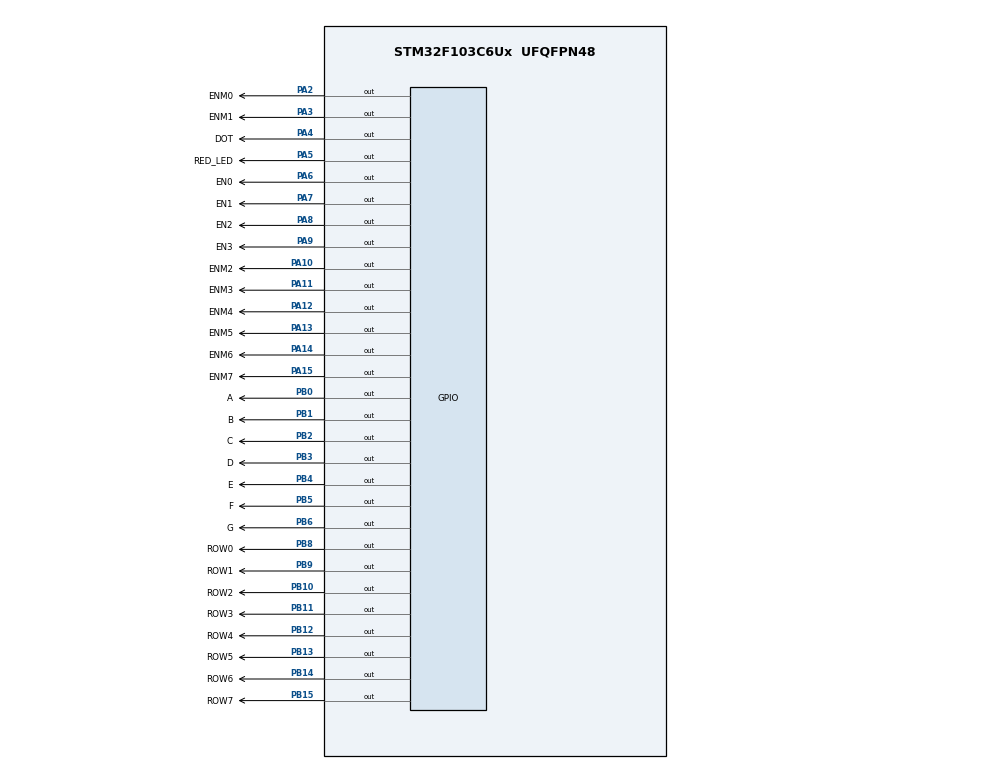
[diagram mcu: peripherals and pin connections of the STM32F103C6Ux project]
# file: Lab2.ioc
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Mcu.Family=STM32F1
Mcu.Name=STM32F103C6Ux
Mcu.Package=UFQFPN48
NVIC.PriorityGroup=NVIC_PRIORITYGROUP_4
NVIC.TIM2_IRQn=true\:0\:0\:false\:false\:true\:true\:true
PA10.GPIO_Label=ENM2
PA10.Signal=GPIO_Output
PA11.GPIO_Label=ENM3
PA11.Signal=GPIO_Output
PA12.GPIO_Label=ENM4
PA12.Signal=GPIO_Output
PA13.GPIO_Label=ENM5
PA13.Signal=GPIO_Output
PA14.GPIO_Label=ENM6
PA14.Signal=GPIO_Output
PA15.GPIO_Label=ENM7
PA15.Signal=GPIO_Output
PA2.GPIO_Label=ENM0
PA2.Signal=GPIO_Output
PA3.GPIO_Label=ENM1
PA3.Signal=GPIO_Output
PA4.GPIO_Label=DOT
PA4.Signal=GPIO_Output
PA5.GPIO_Label=RED_LED
PA5.Signal=GPIO_Output
PA6.GPIO_Label=EN0
PA6.Signal=GPIO_Output
PA7.GPIO_Label=EN1
PA7.Signal=GPIO_Output
PA8.GPIO_Label=EN2
PA8.Signal=GPIO_Output
PA9.GPIO_Label=EN3
PA9.Signal=GPIO_Output
PB0.GPIO_Label=A
PB0.Signal=GPIO_Output
PB1.GPIO_Label=B
PB1.Signal=GPIO_Output
PB10.GPIO_Label=ROW2
PB10.Signal=GPIO_Output
PB11.GPIO_Label=ROW3
PB11.Signal=GPIO_Output
PB12.GPIO_Label=ROW4
PB12.Signal=GPIO_Output
PB13.GPIO_Label=ROW5
PB13.Signal=GPIO_Output
PB14.GPIO_Label=ROW6
PB14.Signal=GPIO_Output
PB15.GPIO_Label=ROW7
PB15.Signal=GPIO_Output
PB2.GPIO_Label=C
PB2.Signal=GPIO_Output
PB3.GPIO_Label=D
PB3.Signal=GPIO_Output
PB4.GPIO_Label=E
PB4.Signal=GPIO_Output
PB5.GPIO_Label=F
PB5.Signal=GPIO_Output
PB6.GPIO_Label=G
PB6.Signal=GPIO_Output
PB8.GPIO_Label=ROW0
PB8.Signal=GPIO_Output
PB9.GPIO_Label=ROW1
PB9.Signal=GPIO_Output
ProjectManager.HeapSize=0x200
ProjectManager.StackSize=0x400
ProjectManager.TargetToolchain=STM32CubeIDE
RCC.APB1Freq_Value=8000000
RCC.APB2Freq_Value=8000000
TIM2.Period=9
TIM2.Prescaler=7999
VP_SYS_VS_ND.Mode=No_Debug
VP_TIM2_VS_ClockSourceINT.Mode=Internal
board=custom

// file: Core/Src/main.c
/* USER CODE BEGIN Header */
/* USER CODE END Header */
#include "main.h"

TIM_HandleTypeDef htim2;

void SystemClock_Config(void);
static void MX_TIM2_Init(void);
static void MX_GPIO_Init(void);

/* USER CODE BEGIN 0 */
void display7SEG(int num) {
	if(num == 0){
		HAL_GPIO_WritePin(GPIOB, A_Pin, GPIO_PIN_RESET); // A
		HAL_GPIO_WritePin(GPIOB, B_Pin, GPIO_PIN_RESET); // B
		HAL_GPIO_WritePin(GPIOB, C_Pin, GPIO_PIN_RESET); // C
		HAL_GPIO_WritePin(GPIOB, D_Pin, GPIO_PIN_RESET); // D
		HAL_GPIO_WritePin(GPIOB, E_Pin, GPIO_PIN_RESET); // E
		HAL_GPIO_WritePin(GPIOB, F_Pin, GPIO_PIN_RESET); // F
		HAL_GPIO_WritePin(GPIOB, G_Pin, GPIO_PIN_SET); // G
	}
	if(num == 1){
		HAL_GPIO_WritePin(GPIOB, A_Pin, GPIO_PIN_SET); // A
		HAL_GPIO_WritePin(GPIOB, B_Pin, GPIO_PIN_RESET); // B
		HAL_GPIO_WritePin(GPIOB, C_Pin, GPIO_PIN_RESET); // C
		HAL_GPIO_WritePin(GPIOB, D_Pin, GPIO_PIN_SET); // D
		HAL_GPIO_WritePin(GPIOB, E_Pin, GPIO_PIN_SET); // E
		HAL_GPIO_WritePin(GPIOB, F_Pin, GPIO_PIN_SET); // F
		HAL_GPIO_WritePin(GPIOB, G_Pin, GPIO_PIN_SET); // G
	}
	if(num == 2){
		HAL_GPIO_WritePin(GPIOB, A_Pin, GPIO_PIN_RESET); // A
		HAL_GPIO_WritePin(GPIOB, B_Pin, GPIO_PIN_RESET); // B
		HAL_GPIO_WritePin(GPIOB, C_Pin, GPIO_PIN_SET); // C
		HAL_GPIO_WritePin(GPIOB, D_Pin, GPIO_PIN_RESET); // D
		HAL_GPIO_WritePin(GPIOB, E_Pin, GPIO_PIN_RESET); // E
		HAL_GPIO_WritePin(GPIOB, F_Pin, GPIO_PIN_SET); // F
		HAL_GPIO_WritePin(GPIOB, G_Pin, GPIO_PIN_RESET); // G
	}
	if(num == 3){
		HAL_GPIO_WritePin(GPIOB, A_Pin, GPIO_PIN_RESET); // A
		HAL_GPIO_WritePin(GPIOB, B_Pin, GPIO_PIN_RESET); // B
		HAL_GPIO_WritePin(GPIOB, C_Pin, GPIO_PIN_RESET); // C
		HAL_GPIO_WritePin(GPIOB, D_Pin, GPIO_PIN_RESET); // D
		HAL_GPIO_WritePin(GPIOB, E_Pin, GPIO_PIN_SET); // E
		HAL_GPIO_WritePin(GPIOB, F_Pin, GPIO_PIN_SET); // F
		HAL_GPIO_WritePin(GPIOB, G_Pin, GPIO_PIN_RESET); // G
	}
	if(num == 4){
		HAL_GPIO_WritePin(GPIOB, A_Pin, GPIO_PIN_SET); // A
		HAL_GPIO_WritePin(GPIOB, B_Pin, GPIO_PIN_RESET); // B
		HAL_GPIO_WritePin(GPIOB, C_Pin, GPIO_PIN_RESET); // C
		HAL_GPIO_WritePin(GPIOB, D_Pin, GPIO_PIN_SET); // D
		HAL_GPIO_WritePin(GPIOB, E_Pin, GPIO_PIN_SET); // E
		HAL_GPIO_WritePin(GPIOB, F_Pin, GPIO_PIN_RESET); // F
		HAL_GPIO_WritePin(GPIOB, G_Pin, GPIO_PIN_RESET); // G
	}
	if(num == 5){
		HAL_GPIO_WritePin(GPIOB, A_Pin, GPIO_PIN_RESET); // A
		HAL_GPIO_WritePin(GPIOB, B_Pin, GPIO_PIN_SET); // B
		HAL_GPIO_WritePin(GPIOB, C_Pin, GPIO_PIN_RESET); // C
		HAL_GPIO_WritePin(GPIOB, D_Pin, GPIO_PIN_RESET); // D
		HAL_GPIO_WritePin(GPIOB, E_Pin, GPIO_PIN_SET); // E
		HAL_GPIO_WritePin(GPIOB, F_Pin, GPIO_PIN_RESET); // F
		HAL_GPIO_WritePin(GPIOB, G_Pin, GPIO_PIN_RESET); // G
	}
	if(num == 6){
		HAL_GPIO_WritePin(GPIOB, A_Pin, GPIO_PIN_RESET); // A
		HAL_GPIO_WritePin(GPIOB, B_Pin, GPIO_PIN_SET); // B
		HAL_GPIO_WritePin(GPIOB, C_Pin, GPIO_PIN_RESET); // C
		HAL_GPIO_WritePin(GPIOB, D_Pin, GPIO_PIN_RESET); // D
		HAL_GPIO_WritePin(GPIOB, E_Pin, GPIO_PIN_RESET); // E
		HAL_GPIO_WritePin(GPIOB, F_Pin, GPIO_PIN_RESET); // F
		HAL_GPIO_WritePin(GPIOB, G_Pin, GPIO_PIN_RESET); // G
	}
	if(num == 7){
		HAL_GPIO_WritePin(GPIOB, A_Pin, GPIO_PIN_RESET); // A
		HAL_GPIO_WritePin(GPIOB, B_Pin, GPIO_PIN_RESET); // B
		HAL_GPIO_WritePin(GPIOB, C_Pin, GPIO_PIN_RESET); // C
		HAL_GPIO_WritePin(GPIOB, D_Pin, GPIO_PIN_SET); // D
		HAL_GPIO_WritePin(GPIOB, E_Pin, GPIO_PIN_SET); // E
		HAL_GPIO_WritePin(GPIOB, F_Pin, GPIO_PIN_SET); // F
		HAL_GPIO_WritePin(GPIOB, G_Pin, GPIO_PIN_SET); // G
	}
	if(num == 8){
		HAL_GPIO_WritePin(GPIOB, A_Pin, GPIO_PIN_RESET); // A
		HAL_GPIO_WritePin(GPIOB, B_Pin, GPIO_PIN_RESET); // B
		HAL_GPIO_WritePin(GPIOB, C_Pin, GPIO_PIN_RESET); // C
		HAL_GPIO_WritePin(GPIOB, D_Pin, GPIO_PIN_RESET); // D
		HAL_GPIO_WritePin(GPIOB, E_Pin, GPIO_PIN_RESET); // E
		HAL_GPIO_WritePin(GPIOB, F_Pin, GPIO_PIN_RESET); // F
		HAL_GPIO_WritePin(GPIOB, G_Pin, GPIO_PIN_RESET); // G
	}
	if(num == 9){
		HAL_GPIO_WritePin(GPIOB, A_Pin, GPIO_PIN_RESET); // A
		HAL_GPIO_WritePin(GPIOB, B_Pin, GPIO_PIN_RESET); // B
		HAL_GPIO_WritePin(GPIOB, C_Pin, GPIO_PIN_RESET); // C
		HAL_GPIO_WritePin(GPIOB, D_Pin, GPIO_PIN_RESET); // D
		HAL_GPIO_WritePin(GPIOB, E_Pin, GPIO_PIN_SET); // E
		HAL_GPIO_WritePin(GPIOB, F_Pin, GPIO_PIN_RESET); // F
		HAL_GPIO_WritePin(GPIOB, G_Pin, GPIO_PIN_RESET); // G
	}
}

const MAX_LED = 4;
int index_led = 0;
int led_buffer[4];
void update7SEG (int index) {
	switch (index) {
	case 0:
		//first 7 SEG
		HAL_GPIO_WritePin (EN0_GPIO_Port, EN0_Pin, 0) ;
		HAL_GPIO_WritePin (GPIOA, EN1_Pin | EN2_Pin | EN3_Pin, 1) ;
		display7SEG(led_buffer[index]);
		break ;
	case 1:
		//second 7 SEG
		HAL_GPIO_WritePin (EN1_GPIO_Port, EN1_Pin , 0) ;
		HAL_GPIO_WritePin (GPIOA, EN0_Pin | EN2_Pin | EN3_Pin, 1) ;
		display7SEG(led_buffer[index]);
		break;
	case 2:
		// third 7 SEG
		HAL_GPIO_WritePin (EN2_GPIO_Port, EN2_Pin, 0) ;
		HAL_GPIO_WritePin (GPIOA, EN0_Pin | EN1_Pin | EN3_Pin, 1) ;
		display7SEG(led_buffer[index]);
		break;
	case 3:
		//forth 7 SEG
		HAL_GPIO_WritePin (EN3_GPIO_Port, EN3_Pin, 0) ;
		HAL_GPIO_WritePin (GPIOA, EN0_Pin | EN1_Pin | EN2_Pin, 1) ;
		display7SEG(led_buffer[index]);
		break ;
	default:
		break ;
	}
}
int hour = 15, minute = 8, second = 50;

void updateClockBuffer(){
	if(hour < 10){
		led_buffer[0] = 0;
		led_buffer[1] = hour;
	}else{
		led_buffer[0] = hour / 10;
		led_buffer[1] = hour % 10;
	}
	if(minute < 10){
		led_buffer[2] = 0;
		led_buffer[3] = minute;
	}else{
		led_buffer[2] = minute / 10;
		led_buffer[3] = minute % 10;
	}
}
int timer0_counter = 0;
int timer0_flag = 0;
int TIMER_CYCLE = 10;
void setTimer0 (int duration) {
	timer0_counter = duration / TIMER_CYCLE ;
	timer0_flag = 0;
}

int timer1_counter = 0;
int timer1_flag = 0;
void setTimer1(int duration){
	timer1_counter = duration / TIMER_CYCLE;
	timer1_flag = 0;
}

void timer_run() {
	if(timer0_counter > 0) {
		timer0_counter--;
		if( timer0_counter == 0) timer0_flag = 1;
	}
	if(timer1_counter > 0){
		timer1_counter--;
		if( timer1_counter == 0) timer1_flag = 1;
	}
}

const int MAX_LED_MATRIX = 8;
int index_led_matrix = 0;
uint8_t matrix_buffer [8] = {0x01 , 0x02 , 0x03 , 0x04 , 0x05 , 0X06 , 0x07 , 0x08 };
void updateLEDMatrix (int index ) {
	switch (index) {
	case 0:
		displayMatrix(matrix_buffer[0]);
		HAL_GPIO_WritePin(ROW7_GPIO_Port, ROW7_Pin, RESET);
		HAL_GPIO_WritePin(ROW0_GPIO_Port, ROW0_Pin, SET);
		break ;
	case 1:
		HAL_GPIO_WritePin(ROW0_GPIO_Port, ROW0_Pin, RESET);
		HAL_GPIO_WritePin(ROW1_GPIO_Port, ROW1_Pin, SET);
		break ;
	case 2:
		HAL_GPIO_WritePin(ROW1_GPIO_Port, ROW1_Pin, RESET);
		HAL_GPIO_WritePin(ROW2_GPIO_Port, ROW2_Pin, SET);
		break ;
	case 3:
		HAL_GPIO_WritePin(ROW2_GPIO_Port, ROW2_Pin, RESET);
		HAL_GPIO_WritePin(ROW3_GPIO_Port, ROW3_Pin, SET);
		break ;
	case 4:
		HAL_GPIO_WritePin(ROW3_GPIO_Port, ROW3_Pin, RESET);
		HAL_GPIO_WritePin(ROW4_GPIO_Port, ROW4_Pin, SET);
		break ;
	case 5:
		HAL_GPIO_WritePin(ROW4_GPIO_Port, ROW4_Pin, RESET);
		HAL_GPIO_WritePin(ROW5_GPIO_Port, ROW5_Pin, SET);
		break ;
	case 6:
		HAL_GPIO_WritePin(ROW5_GPIO_Port, ROW5_Pin, RESET);
		HAL_GPIO_WritePin(ROW6_GPIO_Port, ROW6_Pin, SET);
		break ;
	case 7:
		HAL_GPIO_WritePin(ROW6_GPIO_Port, ROW6_Pin, RESET);
		HAL_GPIO_WritePin(ROW7_GPIO_Port, ROW7_Pin, SET);
		break ;
	default: break;
	}
}

void displayMatrix(uint8_t num){
	HAL_GPIO_WritePin(ENM0_GPIO_Port, ENM7_Pin, !( num & 0x01 )) ;
	HAL_GPIO_WritePin(ENM1_GPIO_Port, ENM6_Pin, !( num & 0x02 )) ;
	HAL_GPIO_WritePin(ENM2_GPIO_Port, ENM5_Pin, !( num & 0x04 )) ;
	HAL_GPIO_WritePin(ENM3_GPIO_Port, ENM4_Pin, !( num & 0x08 )) ;
	HAL_GPIO_WritePin(ENM4_GPIO_Port, ENM3_Pin, !( num & 0x10 )) ;
	HAL_GPIO_WritePin(ENM5_GPIO_Port, ENM2_Pin, !( num & 0x20 )) ;
	HAL_GPIO_WritePin(ENM6_GPIO_Port, ENM1_Pin, !( num & 0x40 )) ;
	HAL_GPIO_WritePin(ENM7_GPIO_Port, ENM0_Pin, !( num & 0x80 )) ;
}

void clearMatrix () {
	HAL_GPIO_WritePin ( ROW0_GPIO_Port , ROW0_Pin , 1) ;
	HAL_GPIO_WritePin ( ROW1_GPIO_Port , ROW1_Pin , 1) ;
	HAL_GPIO_WritePin ( ROW2_GPIO_Port , ROW2_Pin , 1) ;
	HAL_GPIO_WritePin ( ROW3_GPIO_Port , ROW3_Pin , 1) ;
	HAL_GPIO_WritePin ( ROW4_GPIO_Port , ROW4_Pin , 1) ;
	HAL_GPIO_WritePin ( ROW5_GPIO_Port , ROW5_Pin , 1) ;
	HAL_GPIO_WritePin ( ROW6_GPIO_Port , ROW6_Pin , 1) ;
	HAL_GPIO_WritePin ( ROW7_GPIO_Port , ROW7_Pin , 1) ;
	}
/* USER CODE END 0 */

int main(void)
{
  /* USER CODE BEGIN 1 */
	setTimer0(10);
	setTimer1(10);
  /* USER CODE END 1 */

  /* MCU Configuration--------------------------------------------------------*/

  /* Reset of all peripherals, Initializes the Flash interface and the Systick. */
  HAL_Init();

  /* Configure the system clock */
  SystemClock_Config();

  /* Initialize all configured peripherals */
  MX_TIM2_Init();
  MX_GPIO_Init();
  /* USER CODE BEGIN 2 */
  HAL_TIM_Base_Start_IT (&htim2 ) ;
  /* USER CODE END 2 */

  /* Infinite loop */
  /* USER CODE BEGIN WHILE */
  uint8_t matrix_buffer[8] = {0x18 , 0x3c , 0x066 , 0x066 , 0x7e , 0x66 , 0x66 , 0x66};
  int index = 0;

  while (1) {
	  if( timer1_flag == 1) {
		  setTimer1 (4) ;
		  updateLEDMatrix ( index ++) ;
		  if( index > 7) {
			  index = 0;
		  }
	  }
	  if(timer0_flag == 1){
		  HAL_GPIO_TogglePin(DOT_GPIO_Port, DOT_Pin) ;
		  setTimer0 (1000);
		  second ++;
		  if ( second >= 60) {
			  second = 0;
			  minute ++;
		  }
		  if( minute >= 60) {
			  minute = 0;
			  hour ++;
		  }
		  if( hour >= 24){
			  hour = 0;
		  }
		  updateClockBuffer() ;
	  }
	  if(timer1_flag == 1){
		  setTimer1(250);
		  if(index_led > 3)
			  index_led = 0;
		  update7SEG(index_led++);
	  }
}
    /* USER CODE END WHILE */

}

void SystemClock_Config(void)
{
  RCC_OscInitTypeDef RCC_OscInitStruct = {0};
  RCC_ClkInitTypeDef RCC_ClkInitStruct = {0};

  /** Initializes the RCC Oscillators according to the specified parameters
  * in the RCC_OscInitTypeDef structure.
  */
  RCC_OscInitStruct.OscillatorType = RCC_OSCILLATORTYPE_HSI;
  RCC_OscInitStruct.HSIState = RCC_HSI_ON;
  RCC_OscInitStruct.HSICalibrationValue = RCC_HSICALIBRATION_DEFAULT;
  RCC_OscInitStruct.PLL.PLLState = RCC_PLL_NONE;
  if (HAL_RCC_OscConfig(&RCC_OscInitStruct) != HAL_OK)
  {
    Error_Handler();
  }
  /** Initializes the CPU, AHB and APB buses clocks
  */
  RCC_ClkInitStruct.ClockType = RCC_CLOCKTYPE_HCLK|RCC_CLOCKTYPE_SYSCLK
                              |RCC_CLOCKTYPE_PCLK1|RCC_CLOCKTYPE_PCLK2;
  RCC_ClkInitStruct.SYSCLKSource = RCC_SYSCLKSOURCE_HSI;
  RCC_ClkInitStruct.AHBCLKDivider = RCC_SYSCLK_DIV1;
  RCC_ClkInitStruct.APB1CLKDivider = RCC_HCLK_DIV1;
  RCC_ClkInitStruct.APB2CLKDivider = RCC_HCLK_DIV1;

  if (HAL_RCC_ClockConfig(&RCC_ClkInitStruct, FLASH_LATENCY_0) != HAL_OK)
  {
    Error_Handler();
  }
}

static void MX_TIM2_Init(void)
{

  TIM_ClockConfigTypeDef sClockSourceConfig = {0};
  TIM_MasterConfigTypeDef sMasterConfig = {0};

  htim2.Instance = TIM2;
  htim2.Init.Prescaler = 7999;
  htim2.Init.CounterMode = TIM_COUNTERMODE_UP;
  htim2.Init.Period = 9;
  htim2.Init.ClockDivision = TIM_CLOCKDIVISION_DIV1;
  htim2.Init.AutoReloadPreload = TIM_AUTORELOAD_PRELOAD_DISABLE;
  if (HAL_TIM_Base_Init(&htim2) != HAL_OK)
  {
    Error_Handler();
  }
  sClockSourceConfig.ClockSource = TIM_CLOCKSOURCE_INTERNAL;
  if (HAL_TIM_ConfigClockSource(&htim2, &sClockSourceConfig) != HAL_OK)
  {
    Error_Handler();
  }
  sMasterConfig.MasterOutputTrigger = TIM_TRGO_RESET;
  sMasterConfig.MasterSlaveMode = TIM_MASTERSLAVEMODE_DISABLE;
  if (HAL_TIMEx_MasterConfigSynchronization(&htim2, &sMasterConfig) != HAL_OK)
  {
    Error_Handler();
  }

}

static void MX_GPIO_Init(void)
{
  GPIO_InitTypeDef GPIO_InitStruct = {0};

  /* GPIO Ports Clock Enable */
  __HAL_RCC_GPIOA_CLK_ENABLE();
  __HAL_RCC_GPIOB_CLK_ENABLE();

  /*Configure GPIO pin Output Level */
  HAL_GPIO_WritePin(GPIOA, ENM0_Pin|ENM1_Pin|DOT_Pin|RED_LED_Pin
                          |EN0_Pin|EN1_Pin|EN2_Pin|EN3_Pin
                          |ENM2_Pin|ENM3_Pin|ENM4_Pin|ENM5_Pin
                          |ENM6_Pin|ENM7_Pin, GPIO_PIN_RESET);

  /*Configure GPIO pin Output Level */
  HAL_GPIO_WritePin(GPIOB, A_Pin|B_Pin|C_Pin|ROW2_Pin
                          |ROW3_Pin|ROW4_Pin|ROW5_Pin|ROW6_Pin
                          |ROW7_Pin|D_Pin|E_Pin|F_Pin
                          |G_Pin|ROW0_Pin|ROW1_Pin, GPIO_PIN_RESET);

  /*Configure GPIO pins : ENM0_Pin ENM1_Pin DOT_Pin RED_LED_Pin
                           EN0_Pin EN1_Pin EN2_Pin EN3_Pin
                           ENM2_Pin ENM3_Pin ENM4_Pin ENM5_Pin
                           ENM6_Pin ENM7_Pin */
  GPIO_InitStruct.Pin = ENM0_Pin|ENM1_Pin|DOT_Pin|RED_LED_Pin
                          |EN0_Pin|EN1_Pin|EN2_Pin|EN3_Pin
                          |ENM2_Pin|ENM3_Pin|ENM4_Pin|ENM5_Pin
                          |ENM6_Pin|ENM7_Pin;
  GPIO_InitStruct.Mode = GPIO_MODE_OUTPUT_PP;
  GPIO_InitStruct.Pull = GPIO_NOPULL;
  GPIO_InitStruct.Speed = GPIO_SPEED_FREQ_LOW;
  HAL_GPIO_Init(GPIOA, &GPIO_InitStruct);

  /*Configure GPIO pins : A_Pin B_Pin C_Pin ROW2_Pin
                           ROW3_Pin ROW4_Pin ROW5_Pin ROW6_Pin
                           ROW7_Pin D_Pin E_Pin F_Pin
                           G_Pin ROW0_Pin ROW1_Pin */
  GPIO_InitStruct.Pin = A_Pin|B_Pin|C_Pin|ROW2_Pin
                          |ROW3_Pin|ROW4_Pin|ROW5_Pin|ROW6_Pin
                          |ROW7_Pin|D_Pin|E_Pin|F_Pin
                          |G_Pin|ROW0_Pin|ROW1_Pin;
  GPIO_InitStruct.Mode = GPIO_MODE_OUTPUT_PP;
  GPIO_InitStruct.Pull = GPIO_NOPULL;
  GPIO_InitStruct.Speed = GPIO_SPEED_FREQ_LOW;
  HAL_GPIO_Init(GPIOB, &GPIO_InitStruct);

}

/* USER CODE BEGIN 4 */
void HAL_TIM_PeriodElapsedCallback ( TIM_HandleTypeDef * htim ){
	timer_run();
}

/* USER CODE END 4 */

void Error_Handler(void)
{
}

/************************ (C) COPYRIGHT STMicroelectronics *****END OF FILE****/
